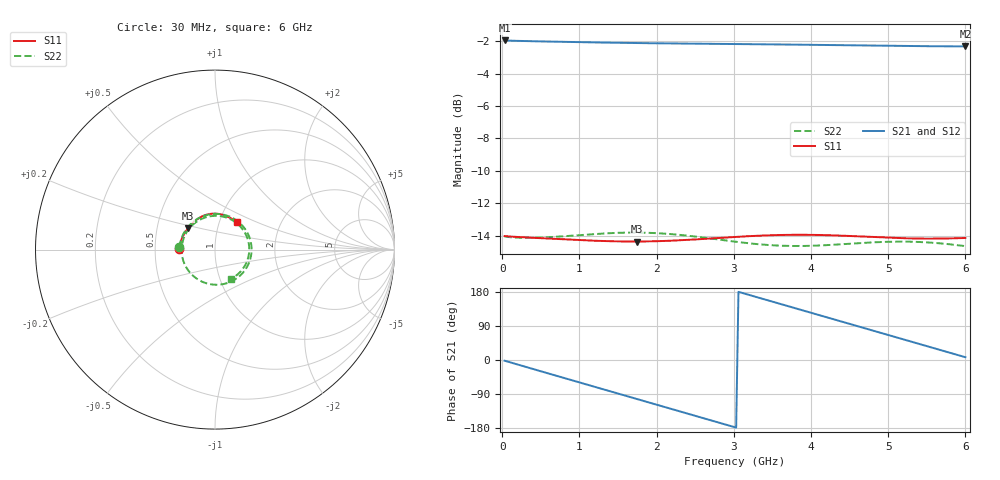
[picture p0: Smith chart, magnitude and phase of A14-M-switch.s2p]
! yapnr Order 0 O0-M: O0-M A14 SHUNT 100R (switch, family M)
! stackup OSHPARK-4L-FR408HR, nominal parameters; geometry of the OSHPARK-4L-FR408HR design
! model: 2D quasi-static RLGC (Djordjevic-Sarkar, Huray roughness, Wheeler loss); generated by python -m yapnr.rf.coupons expected --stackup OSHPARK-4L-FR408HR --upload M
! reference planes 10 mm from each end; 50 ohm (from the M line's Zc)
# GHz S DB R 50
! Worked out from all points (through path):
!   200 points, 30 MHz to 6 GHz, reference 50 ohm
!   highest |S21| = -1.95 dB at 30 MHz (marker M1); lowest = -2.3 dB at 6 GHz (marker M2)
!   group delay of S21, straight-line fit = 163 ps
!   lowest |S11| = -14.4 dB at 1.74 GHz (marker M3), VSWR 1.47, Z = 36 + j8.91 ohm
!   |S11| at or under -10 dB: start of sweep to end of sweep
!   |S22| runs from -14.6 to -13.8 dB; largest |S21 - S12| = 0
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0.03  -14.02 179.1  -1.95 -1.9  -1.95 -1.9  -14.04 176.6
0.27  -14.09 173.4  -1.99 -16.2  -1.99 -16.2  -14.13 151.2
0.51  -14.15 167.9  -2.01 -30.4  -2.01 -30.4  -14.11 126.2
0.78  -14.22 161.8  -2.04 -46.3  -2.04 -46.3  -14.04 98.5
1.05  -14.28 155.9  -2.06 -62.2  -2.06 -62.2  -13.94 71.3
1.41  -14.34 148.3  -2.09 -83.3  -2.09 -83.3  -13.84 35.6
1.74  -14.36 141.5  -2.11 -102.7  -2.11 -102.7  -13.80 3.4
2.04  -14.33 135.4  -2.13 -120.3  -2.13 -120.3  -13.85 -25.8
2.55  -14.21 124.8  -2.15 -150.2  -2.15 -150.2  -14.08 -75.8
2.79  -14.14 119.5  -2.16 -164.3  -2.16 -164.3  -14.23 -99.8
3.03  -14.07 114.2  -2.17 -178.4  -2.17 -178.4  -14.37 -124.1
3.27  -14.01 108.7  -2.18 167.5  -2.18 167.5  -14.50 -148.7
3.51  -13.96 103.2  -2.19 153.3  -2.19 153.3  -14.59 -173.6
4.02  -13.95 91.3  -2.22 123.4  -2.22 123.4  -14.62 133.6
4.29  -13.98 85.2  -2.24 107.5  -2.24 107.5  -14.55 106.0
4.53  -14.02 79.9  -2.26 93.4  -2.26 93.4  -14.48 81.9
4.77  -14.07 74.7  -2.27 79.4  -2.27 79.4  -14.41 58.1
5.01  -14.12 69.8  -2.28 65.3  -2.28 65.3  -14.37 34.5
5.25  -14.16 65.0  -2.30 51.2  -2.30 51.2  -14.37 11.2
5.52  -14.18 59.8  -2.31 35.4  -2.31 35.4  -14.41 -14.9
5.76  -14.17 55.1  -2.31 21.4  -2.31 21.4  -14.51 -38.1
6  -14.14 50.5  -2.32 7.3  -2.32 7.3  -14.64 -61.6
